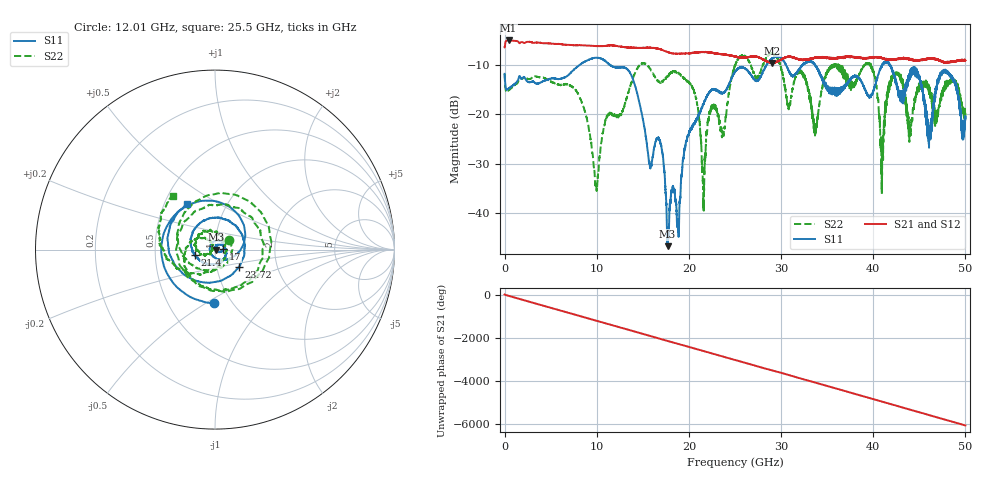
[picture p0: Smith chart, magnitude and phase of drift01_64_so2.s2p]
!Created with skrf (http://scikit-rf.org).
# Hz S RI R 50.0
!freq ReS11 ImS11 ReS21 ImS21 ReS12 ImS12 ReS22 ImS22
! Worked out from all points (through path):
!   10001 points, 300 kHz to 50 GHz, reference 50 ohm
!   highest |S21| = -5.05 dB at 425.3 MHz (marker M1); lowest = -9.6 dB at 29.03 GHz (marker M2)
!   group delay of S21, straight-line fit = 336 ps
!   lowest |S11| = -46.7 dB at 17.69 GHz (marker M3), VSWR 1.01, Z = 50.4 - j0.112 ohm
!   |S11| at or under -10 dB: start of sweep to 8.151 GHz; 11.43 GHz to 28.42 GHz (16.99 GHz wide, 85.3 % of centre); 41.81 GHz to end of sweep (the widest 3 of 10)
!   |S22| runs from -39.8 to -7.6 dB; largest |S21 - S12| = 0.015
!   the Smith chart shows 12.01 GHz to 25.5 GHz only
!   S11 on the Smith chart (normalised r, x): 12.01 GHz: 0.83, -0.54; 17 GHz: 1.10, +0.00; 21.4 GHz: 0.80, -0.05; 23.72 GHz: 1.28, -0.26; 25.5 GHz: 0.65, +0.36
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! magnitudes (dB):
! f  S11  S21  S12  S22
! 300 kHz  -11.8  -6.4  -6.5  -11.9
! 425.3 MHz  -14.8  -5.1  -5.1  -15.1
! 8.335 GHz  -9.7  -6.0  -6.0  -17.5
! 9.95 GHz  -8.5  -6.2  -6.2  -34.9
! 12.01 GHz  -10.5  -6.1  -6.2  -20.5
! 16.67 GHz  -24.7  -6.7  -6.7  -13.3
! 17 GHz  -26.5  -6.9  -6.9  -13.6
! 17.69 GHz  -46.7  -7.4  -7.4  -12.3
! 20.47 GHz  -22.3  -7.6  -7.6  -15.0
! 21.4 GHz  -18.7  -7.4  -7.4  -30.2
! 22.47 GHz  -15.0  -7.6  -7.6  -18.8
! 23.72 GHz  -15.7  -7.9  -7.9  -24.3
! 25 GHz  -11.4  -8.3  -8.3  -10.1
! 25.5 GHz  -10.5  -8.5  -8.5  -8.4
! 29.03 GHz  -8.7  -9.6  -9.6  -7.7
! 33.34 GHz  -9.5  -8.7  -8.7  -19.4
! 39.48 GHz  -16.3  -8.6  -8.5  -9.9
! 40.97 GHz  -10.1  -8.6  -8.6  -28.5
! 41.67 GHz  -9.5  -8.8  -9.0  -14.3
! 46.11 GHz  -23.9  -8.7  -8.7  -14.5
! 48.01 GHz  -11.5  -9.5  -9.4  -13.8
! 50 GHz  -20.9  -9.1  -9.0  -20.5
